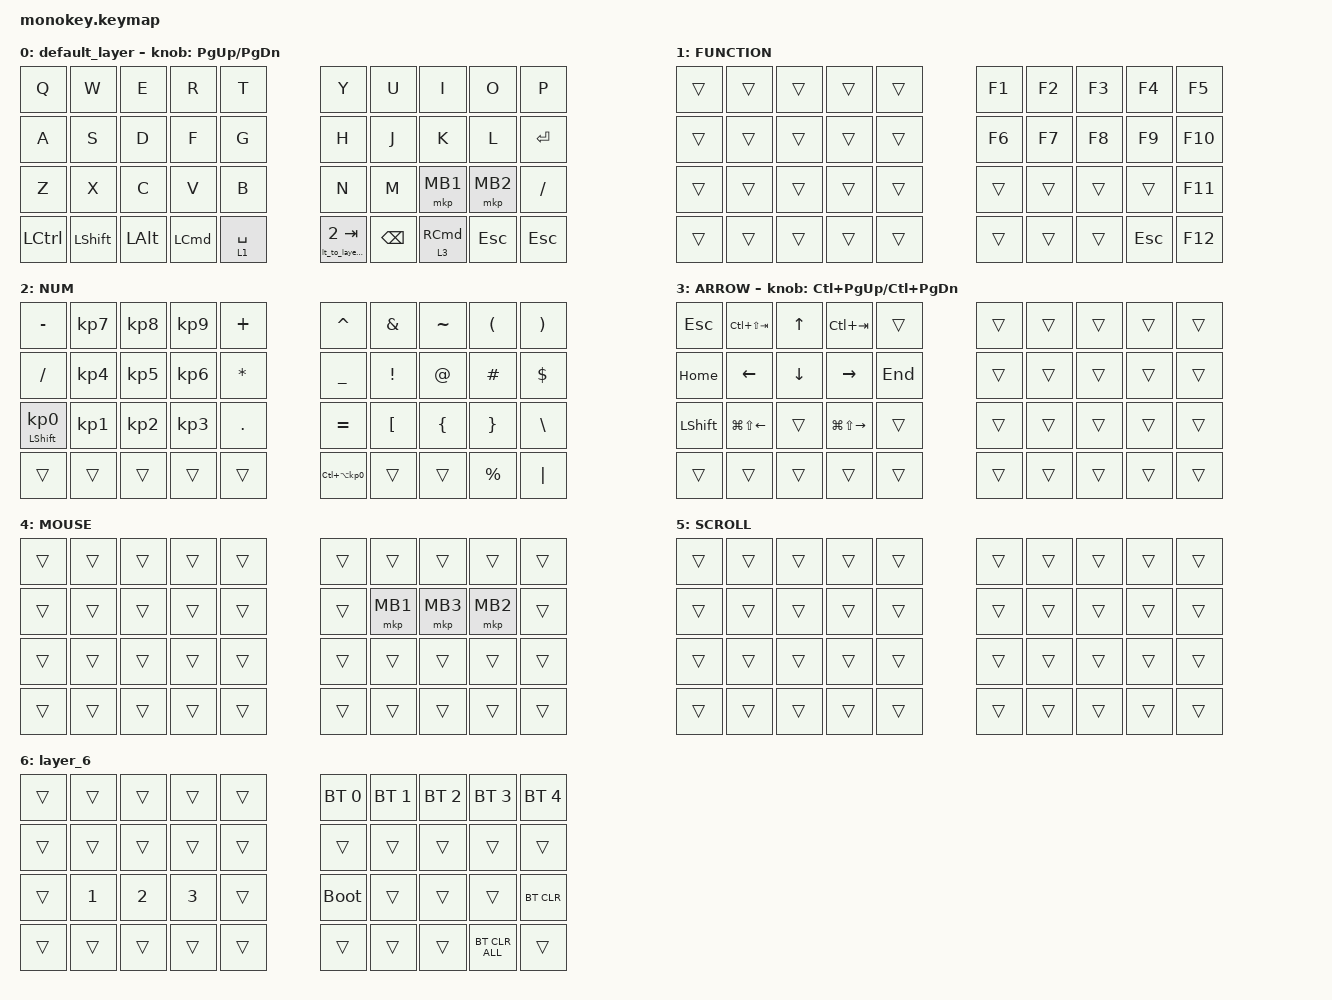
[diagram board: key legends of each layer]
#include <behaviors.dtsi>
#include <dt-bindings/zmk/bt.h>
#include <dt-bindings/zmk/keys.h>
#include <dt-bindings/zmk/mouse.h>

#define MOUSE 4
#define SCROLL 5
#define NUM 6

&mt {
    flavor = "balanced";
    quick-tap-ms = <0>;
};

/ {
    combos {
        compatible = "zmk,combos";

        tab {
            bindings = <&kp TAB>;
            key-positions = <11 12>;
        };

        shift_tab {
            bindings = <&kp LS(TAB)>;
            key-positions = <12 13>;
        };

        muhennkann {
            bindings = <&to_layer_0 INT_MUHENKAN>;
            key-positions = <11 10>;
        };

        double_quotation {
            bindings = <&kp DOUBLE_QUOTES>;
            key-positions = <20 21>;
        };

    };

    macros {
        to_layer_0: to_layer_0 {
            compatible = "zmk,behavior-macro-one-param";
            #binding-cells = <1>;
            bindings = <&to 0 &macro_param_1to1 &kp MACRO_PLACEHOLDER>;
            label = "TO_LAYER_0";
        };

         macro_repeated_backspace: macro_repeated_backspace {
            compatible = "zmk,behavior-macro";
            label = "MACRO_REPEATED_BACKSPACE";
            #binding-cells = <0>;

            bindings = <
                &macro_repeat_press
                &kp BACKSPACE
            >;
        };
    };


     tap_dance {
        compatible = "zmk,tap-dance";

        td_backspace {
            label = "TD_BACKSPACE";
            taps = <1>, <2>;
            bindings = <
                &kp BACKSPACE
                &macro_repeated_backspace
            >;
        };
    };

    behaviors {
        right_click: right_click_behavior {
            compatible = "zmk,behavior-mouse-key";
            label = "RIGHT_CLICK";
            #binding-cells = <0>;
            bindings = <&mkp MB2>;
        };

         backspace_hold_layer: backspace_hold_layer {
            compatible = "zmk,behavior-hold-tap";
            label = "BACKSPACE_HOLD_LAYER";
            bindings = < &tap_dance_td_backspace >, < &mo 3 >;
            tapping-term-ms = <200>;
        };
    };

    keymap {
        compatible = "zmk,keymap";

        // Layout: 40 keys
        // Row1: 5L + 5R = 10
        // Row2: 5L + 5R = 10
        // Row3: 5L + 5R = 10
        // Row4: 6L + 2R + 2R_end = 10

        default_layer {
          bindings = <
&kp Q      &kp W           &kp E         &kp R             &kp T                                &kp Y          &kp U                &kp I     &kp O     &kp P
&kp A      &kp S           &kp D         &kp F             &kp G                                &kp H          &kp J                &kp K     &kp L     &kp ENTER
&kp Z      &kp X           &kp C         &kp V             &kp B                                &kp N          &kp M                &mkp MB1  &mkp MB2  &kp SLASH
&kp LCTRL  &kp LEFT_SHIFT  &kp LEFT_ALT  &kp LEFT_COMMAND  &lt 1 SPACE  &lt_to_layer_0 2 TAB    &kp BACKSPACE  &lt 3 RIGHT_COMMAND            &kp ESC   &kp ESC
            >;

            sensor-bindings = <&inc_dec_kp PG_UP PAGE_DOWN>;
        };

        FUNCTION {
            bindings = <
&trans  &trans  &trans  &trans  &trans            &kp F1  &kp F2  &kp F3  &kp F4   &kp F5
&trans  &trans  &trans  &trans  &trans            &kp F6  &kp F7  &kp F8  &kp F9   &kp F10
&trans  &trans  &trans  &trans  &trans            &trans  &trans  &trans  &trans   &kp F11
&trans  &trans  &trans  &trans  &trans  &trans    &trans  &trans                   &kp ESC  &kp F12
            >;
        };

        NUM {
            bindings = <
&kp MINUS                   &kp KP_NUMBER_7  &kp KP_NUMBER_8  &kp KP_NUMBER_9  &kp PLUS                          &kp CARET         &kp AMPERSAND      &kp TILDE       &kp LEFT_PARENTHESIS  &kp RIGHT_PARENTHESIS
&kp SLASH                   &kp KP_NUMBER_4  &kp KP_NUMBER_5  &kp KP_NUMBER_6  &kp ASTERISK                      &kp UNDERSCORE    &kp EXCLAMATION    &kp AT_SIGN     &kp HASH              &kp DOLLAR
&mt LEFT_SHIFT KP_NUMBER_0  &kp KP_NUMBER_1  &kp KP_NUMBER_2  &kp KP_NUMBER_3  &kp PERIOD                        &kp EQUAL         &kp LEFT_BRACKET   &kp LEFT_BRACE  &kp RIGHT_BRACE       &kp BACKSLASH
&trans                      &trans           &trans           &trans           &trans        &kp LC(LA(KP_NUMBER_0))    &trans     &trans                                                    &kp PERCENT  &kp PIPE
            >;
        };

        ARROW {
            bindings = <
&kp ESCAPE      &kp LC(LS(TAB))         &kp UP_ARROW    &kp LC(TAB)              &trans            &trans  &trans  &trans  &trans  &trans
&kp HOME        &kp LEFT_ARROW          &kp DOWN_ARROW  &kp RIGHT_ARROW          &kp END           &trans  &trans  &trans  &trans  &trans
&kp LEFT_SHIFT  &kp LG(LS(LEFT_ARROW))  &trans          &kp LG(LS(RIGHT_ARROW))  &trans            &trans  &trans  &trans  &trans  &trans
&trans          &trans                  &trans          &trans                   &trans  &trans    &trans  &trans                  &trans  &trans
            >;

            sensor-bindings = <&inc_dec_kp LC(PAGE_UP) LC(PAGE_DOWN)>;
        };

        MOUSE {
            bindings = <
&trans  &trans  &trans  &trans  &trans            &trans  &trans    &trans    &trans    &trans
&trans  &trans  &trans  &trans  &trans            &trans  &mkp MB1  &mkp MB3  &mkp MB2  &trans
&trans  &trans  &trans  &trans  &trans            &trans  &trans    &trans    &trans    &trans
&trans  &trans  &trans  &trans  &trans  &trans    &trans  &trans                        &trans  &trans
            >;
        };

        SCROLL {
            bindings = <
&trans  &trans  &trans  &trans  &trans            &trans  &trans  &trans  &trans  &trans
&trans  &trans  &trans  &trans  &trans            &trans  &trans  &trans  &trans  &trans
&trans  &trans  &trans  &trans  &trans            &trans  &trans  &trans  &trans  &trans
&trans  &trans  &trans  &trans  &trans  &trans    &trans  &trans                  &trans  &trans
            >;
        };

        layer_6 {
            bindings = <
&trans  &trans        &trans        &trans        &trans                      &bt BT_SEL 0  &bt BT_SEL 1  &bt BT_SEL 2  &bt BT_SEL 3  &bt BT_SEL 4
&trans  &trans        &trans        &trans        &trans                      &trans        &trans        &trans        &trans        &trans
&trans  &kp NUMBER_1  &kp NUMBER_2  &kp NUMBER_3  &trans                      &bootloader   &trans        &trans        &trans        &bt BT_CLR
&trans  &trans        &trans        &trans        &trans  &trans    &trans    &trans                                                  &bt BT_CLR_ALL  &trans
            >;
        };
    };
};
